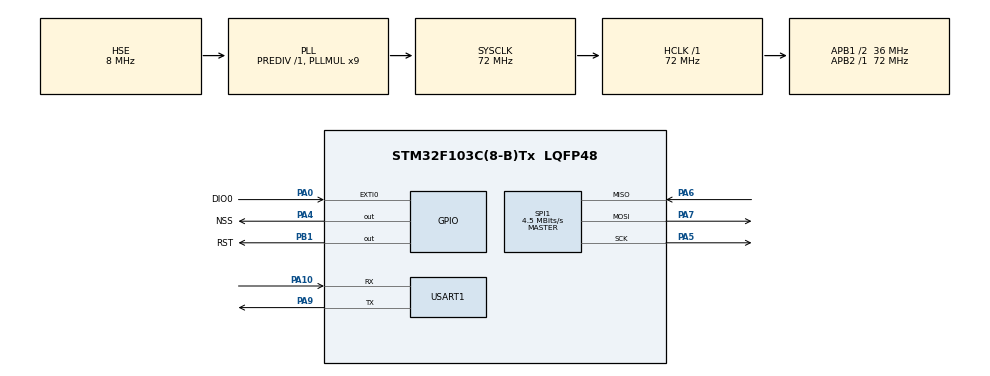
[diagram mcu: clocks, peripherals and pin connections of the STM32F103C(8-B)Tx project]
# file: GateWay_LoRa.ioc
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Mcu.Family=STM32F1
Mcu.Name=STM32F103C(8-B)Tx
Mcu.Package=LQFP48
NVIC.PriorityGroup=NVIC_PRIORITYGROUP_4
NVIC.USART1_IRQn=true\:0\:0\:false\:false\:true\:true\:true\:true
PA0-WKUP.GPIO_Label=DIO0
PA0-WKUP.Signal=GPXTI0
PA10.Mode=Asynchronous
PA10.Signal=USART1_RX
PA13.Mode=Serial_Wire
PA13.Signal=SYS_JTMS-SWDIO
PA14.Mode=Serial_Wire
PA14.Signal=SYS_JTCK-SWCLK
PA4.GPIO_Label=NSS
PA4.PinState=GPIO_PIN_SET
PA4.Signal=GPIO_Output
PA5.Mode=Full_Duplex_Master
PA5.Signal=SPI1_SCK
PA6.Mode=Full_Duplex_Master
PA6.Signal=SPI1_MISO
PA7.Mode=Full_Duplex_Master
PA7.Signal=SPI1_MOSI
PA9.Mode=Asynchronous
PA9.Signal=USART1_TX
PB1.GPIO_Label=RST
PB1.PinState=GPIO_PIN_SET
PB1.Signal=GPIO_Output
PD0-OSC_IN.Mode=HSE-External-Oscillator
PD0-OSC_IN.Signal=RCC_OSC_IN
PD1-OSC_OUT.Mode=HSE-External-Oscillator
PD1-OSC_OUT.Signal=RCC_OSC_OUT
ProjectManager.HeapSize=0x200
ProjectManager.StackSize=0x400
ProjectManager.TargetToolchain=STM32CubeIDE
RCC.AHBFreq_Value=72000000
RCC.APB1CLKDivider=RCC_HCLK_DIV2
RCC.APB1Freq_Value=36000000
RCC.APB1TimFreq_Value=72000000
RCC.APB2Freq_Value=72000000
RCC.APB2TimFreq_Value=72000000
RCC.HCLKFreq_Value=72000000
RCC.PLLMUL=RCC_PLL_MUL9
RCC.PLLSourceVirtual=RCC_PLLSOURCE_HSE
RCC.SYSCLKFreq_VALUE=72000000
RCC.SYSCLKSource=RCC_SYSCLKSOURCE_PLLCLK
RCC.USBFreq_Value=72000000
SPI1.BaudRatePrescaler=SPI_BAUDRATEPRESCALER_16
SPI1.CalculateBaudRate=4.5 MBits/s
SPI1.Direction=SPI_DIRECTION_2LINES
SPI1.Mode=SPI_MODE_MASTER
SPI1.VirtualType=VM_MASTER
USART1.VirtualMode=VM_ASYNC
board=custom

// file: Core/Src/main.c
/* USER CODE BEGIN Header */
/**
  ******************************************************************************
  * @file           : main.c
  * @brief          : Main program body
  ******************************************************************************
  * @attention
  *
  * Copyright (c) 2025 STMicroelectronics.
  * All rights reserved.
  *
  * This software is licensed under terms that can be found in the LICENSE file
  * in the root directory of this software component.
  * If no LICENSE file comes with this software, it is provided AS-IS.
  *
  ******************************************************************************
  */
/* USER CODE END Header */
#include "main.h"

/* USER CODE BEGIN Includes */
#include "LoRa.h"
#include <stdio.h>
#include <string.h>
#include <stdlib.h>
/* USER CODE END Includes */

SPI_HandleTypeDef hspi1;

UART_HandleTypeDef huart1;

/* USER CODE BEGIN PV */
LoRa myLoRa;
char buffer[64];
uint8_t recv_buf[64];
uint8_t recv_len;

int _write(int file, char *ptr, int len) {
    HAL_UART_Transmit(&huart1, (uint8_t*) ptr, len, HAL_MAX_DELAY);
    return len;
}
/* USER CODE END PV */

void SystemClock_Config(void);
static void MX_GPIO_Init(void);
static void MX_SPI1_Init(void);
static void MX_USART1_UART_Init(void);

int main(void)
{

  /* MCU Configuration--------------------------------------------------------*/

  /* Reset of all peripherals, Initializes the Flash interface and the Systick. */
  HAL_Init();

  /* Configure the system clock */
  SystemClock_Config();

  /* Initialize all configured peripherals */
  MX_GPIO_Init();
  MX_SPI1_Init();
  MX_USART1_UART_Init();
  /* USER CODE BEGIN 2 */
  //Init LoRa
  myLoRa = newLoRa();

  myLoRa.CS_port         = NSS_GPIO_Port;
  myLoRa.CS_pin          = NSS_Pin;
  myLoRa.reset_port      = RST_GPIO_Port;
  myLoRa.reset_pin       = RST_Pin;
  myLoRa.DIO0_port       = DIO0_GPIO_Port;
  myLoRa.DIO0_pin        = DIO0_Pin;
  myLoRa.hSPIx           = &hspi1;

  LoRa_init(&myLoRa);

    if (!LoRa_init(&myLoRa)) {
        HAL_UART_Transmit(&huart1, (uint8_t*)"LoRa init failed\r\n", 18, 100);
    }
    else {
    	HAL_UART_Transmit(&huart1, (uint8_t*)"LoRa init done\r\n", 14, 100);
    	LoRa_startReceiving(&myLoRa);
    }
  /* USER CODE END 2 */

  /* Infinite loop */
  /* USER CODE BEGIN WHILE */
  while (1)
  {
	  recv_len = LoRa_receive(&myLoRa, recv_buf, sizeof(recv_buf));
	          if (recv_len > 0) {
	              recv_buf[recv_len] = '\0';
	              printf("Received: %s\r\n", recv_buf);

	              // Tách dữ liệu theo định dạng "NODE99:28.3:70.5"
	              char node_tag[10];
	              int node_id, temp_int, temp_frac, humi_int, humi_frac;

	              if (sscanf((char*)recv_buf, "%[^0-9]%d:%d.%d:%d.%d",
	                         node_tag, &node_id,
	                         &temp_int, &temp_frac,
	                         &humi_int, &humi_frac) == 6) {

	                  float temp = temp_int + temp_frac / 10.0;
	                  float humi = humi_int + humi_frac / 10.0;

	                  printf("Node: %d, Temp: %.1f C, Humi: %.1f %%\r\n", node_id, temp, humi);

	                  // Bật LED cảnh báo nếu vượt ngưỡng
	                  if (temp > 35.0 || humi > 80.0) {
	                      HAL_GPIO_WritePin(GPIOC, GPIO_PIN_13, GPIO_PIN_RESET); // LED ON
	                  } else {
	                      HAL_GPIO_WritePin(GPIOC, GPIO_PIN_13, GPIO_PIN_SET);   // LED OFF
	                  }
	              } else {
	                  printf("Parse Error\r\n");
	              }
	          }

	          HAL_Delay(1000); // Đọc liên tục
    /* USER CODE END WHILE */

  }
}

void SystemClock_Config(void)
{
  RCC_OscInitTypeDef RCC_OscInitStruct = {0};
  RCC_ClkInitTypeDef RCC_ClkInitStruct = {0};

  /** Initializes the RCC Oscillators according to the specified parameters
  * in the RCC_OscInitTypeDef structure.
  */
  RCC_OscInitStruct.OscillatorType = RCC_OSCILLATORTYPE_HSE;
  RCC_OscInitStruct.HSEState = RCC_HSE_ON;
  RCC_OscInitStruct.HSEPredivValue = RCC_HSE_PREDIV_DIV1;
  RCC_OscInitStruct.HSIState = RCC_HSI_ON;
  RCC_OscInitStruct.PLL.PLLState = RCC_PLL_ON;
  RCC_OscInitStruct.PLL.PLLSource = RCC_PLLSOURCE_HSE;
  RCC_OscInitStruct.PLL.PLLMUL = RCC_PLL_MUL9;
  if (HAL_RCC_OscConfig(&RCC_OscInitStruct) != HAL_OK)
  {
    Error_Handler();
  }

  /** Initializes the CPU, AHB and APB buses clocks
  */
  RCC_ClkInitStruct.ClockType = RCC_CLOCKTYPE_HCLK|RCC_CLOCKTYPE_SYSCLK
                              |RCC_CLOCKTYPE_PCLK1|RCC_CLOCKTYPE_PCLK2;
  RCC_ClkInitStruct.SYSCLKSource = RCC_SYSCLKSOURCE_PLLCLK;
  RCC_ClkInitStruct.AHBCLKDivider = RCC_SYSCLK_DIV1;
  RCC_ClkInitStruct.APB1CLKDivider = RCC_HCLK_DIV2;
  RCC_ClkInitStruct.APB2CLKDivider = RCC_HCLK_DIV1;

  if (HAL_RCC_ClockConfig(&RCC_ClkInitStruct, FLASH_LATENCY_2) != HAL_OK)
  {
    Error_Handler();
  }
}

static void MX_SPI1_Init(void)
{

  /* SPI1 parameter configuration*/
  hspi1.Instance = SPI1;
  hspi1.Init.Mode = SPI_MODE_MASTER;
  hspi1.Init.Direction = SPI_DIRECTION_2LINES;
  hspi1.Init.DataSize = SPI_DATASIZE_8BIT;
  hspi1.Init.CLKPolarity = SPI_POLARITY_LOW;
  hspi1.Init.CLKPhase = SPI_PHASE_1EDGE;
  hspi1.Init.NSS = SPI_NSS_SOFT;
  hspi1.Init.BaudRatePrescaler = SPI_BAUDRATEPRESCALER_16;
  hspi1.Init.FirstBit = SPI_FIRSTBIT_MSB;
  hspi1.Init.TIMode = SPI_TIMODE_DISABLE;
  hspi1.Init.CRCCalculation = SPI_CRCCALCULATION_DISABLE;
  hspi1.Init.CRCPolynomial = 10;
  if (HAL_SPI_Init(&hspi1) != HAL_OK)
  {
    Error_Handler();
  }

}

static void MX_USART1_UART_Init(void)
{

  huart1.Instance = USART1;
  huart1.Init.BaudRate = 115200;
  huart1.Init.WordLength = UART_WORDLENGTH_8B;
  huart1.Init.StopBits = UART_STOPBITS_1;
  huart1.Init.Parity = UART_PARITY_NONE;
  huart1.Init.Mode = UART_MODE_TX_RX;
  huart1.Init.HwFlowCtl = UART_HWCONTROL_NONE;
  huart1.Init.OverSampling = UART_OVERSAMPLING_16;
  if (HAL_UART_Init(&huart1) != HAL_OK)
  {
    Error_Handler();
  }

}

static void MX_GPIO_Init(void)
{
  GPIO_InitTypeDef GPIO_InitStruct = {0};

  /* GPIO Ports Clock Enable */
  __HAL_RCC_GPIOD_CLK_ENABLE();
  __HAL_RCC_GPIOA_CLK_ENABLE();
  __HAL_RCC_GPIOB_CLK_ENABLE();

  /*Configure GPIO pin Output Level */
  HAL_GPIO_WritePin(NSS_GPIO_Port, NSS_Pin, GPIO_PIN_SET);

  /*Configure GPIO pin Output Level */
  HAL_GPIO_WritePin(RST_GPIO_Port, RST_Pin, GPIO_PIN_SET);

  /*Configure GPIO pin : DIO0_Pin */
  GPIO_InitStruct.Pin = DIO0_Pin;
  GPIO_InitStruct.Mode = GPIO_MODE_IT_RISING;
  GPIO_InitStruct.Pull = GPIO_NOPULL;
  HAL_GPIO_Init(DIO0_GPIO_Port, &GPIO_InitStruct);

  /*Configure GPIO pin : NSS_Pin */
  GPIO_InitStruct.Pin = NSS_Pin;
  GPIO_InitStruct.Mode = GPIO_MODE_OUTPUT_PP;
  GPIO_InitStruct.Pull = GPIO_NOPULL;
  GPIO_InitStruct.Speed = GPIO_SPEED_FREQ_LOW;
  HAL_GPIO_Init(NSS_GPIO_Port, &GPIO_InitStruct);

  /*Configure GPIO pin : RST_Pin */
  GPIO_InitStruct.Pin = RST_Pin;
  GPIO_InitStruct.Mode = GPIO_MODE_OUTPUT_PP;
  GPIO_InitStruct.Pull = GPIO_NOPULL;
  GPIO_InitStruct.Speed = GPIO_SPEED_FREQ_LOW;
  HAL_GPIO_Init(RST_GPIO_Port, &GPIO_InitStruct);

}

void Error_Handler(void)
{
  __disable_irq();
  while (1)
  {
  }
}
